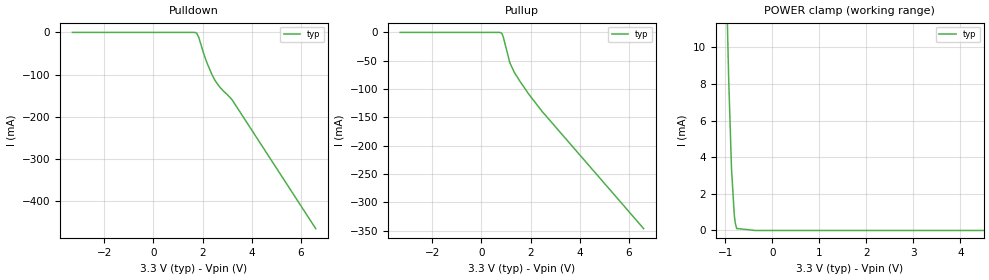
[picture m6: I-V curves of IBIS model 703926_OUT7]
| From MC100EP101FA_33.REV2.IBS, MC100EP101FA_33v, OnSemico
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| (C) COPYRIGHT 1993-2001
| MENTOR GRAPHICS CORPORATION
| ICX STANDARD LIBRARY, ICX PROJECT MODELING,
| ICX CUSTOM MODELING, ICX VENDOR MODEL
| ALL RIGHTS RESERVED.
| THE FOLLOWING ARE TRADEMARKS OR SERVICE MARKS OF
| MENTOR GRAPHICS CORPORATION:ICX (R), ICX STANDARD
| LIBRARY(R), ICX PROJECT MODELING(R), ICX CUSTOM
| MODELING(R), qualityIBIS(TM), MODELVIEWER(TM),
| AND MODELEDITOR(TM)
| ALL COPIES OF SOFTWARE, INCLUDING BUT NOT LIMITED TO
| ANY MODIFICATIONS, ENHANCEMENTS OR DERIVATIVE WORKS,
| MUST CONTAIN ALL MENTOR GRAPHICS CORPORATION'S
| NOTICES AND LEGENDS, INCLUDING THOSE EMBEDDED IN
| SOFTWARE AND THOSE AFFIXED TO SOFTWARE MEDIUM
| AND CONTAINER, AS RECEIVED FROM MENTOR GRAPHICS
| CORPORATION.
| Model Application Version 1.89 2/18/99.
[Model] 703926_OUT7
Model_type Output_ECL
Vref=1.300V
Rref=50.00ohms
Cref=0.000F
Vmeas=1.880V
C_comp 6.000pF NA NA
| variable typ   min   max
[Voltage Range] 3.300V NA NA
[POWER Clamp Reference] 3.300V NA NA
[Pullup Reference] 3.300V NA NA
[Pulldown Reference] 3.300V NA NA
[GND Clamp Reference] 0.000V NA NA
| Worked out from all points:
|   POWER clamp passes 1 mA (typ) near -0.81 V on its own axis
[GND Clamp]
-3.3V     0A         NA         NA
6.6V      0A         NA         NA
[Pulldown]
-3.3V     0A         NA         NA
1.638V    0A         NA         NA
1.76V     -2mA       NA         NA
1.841V    -11.4mA    NA         NA
2.043V    -50.4mA    NA         NA
2.165V    -70.5mA    NA         NA
2.368V    -98.7mA    NA         NA
2.49V     -112.4mA   NA         NA
2.732V    -131.9mA   NA         NA
3.199V    -159.8mA   NA         NA
6.6V      -465mA     NA         NA
[Pullup]
-3.3V     0A         NA         NA
711mV     0A         NA         NA
812mV     -1.1mA     NA         NA
853mV     -3.6mA     NA         NA
893mV     -8.4mA     NA         NA
1.157V    -53.6mA    NA         NA
1.339V    -70.5mA    NA         NA
1.947V    -110.3mA   NA         NA
2.474V    -139.8mA   NA         NA
6.6V      -346.7mA   NA         NA
[POWER Clamp]
-3.3V     452mA      NA         NA
-1.398V   79.8mA     NA         NA
-1.195V   44.3mA     NA         NA
-1.012V   17.4mA     NA         NA
-931mV    8.4mA      NA         NA
-870mV    3.4mA      NA         NA
-809mV    800uA      NA         NA
-789mV    400uA      NA         NA
-758.5mV  100uA      NA         NA
-728mV    100uA      NA         NA
-364mV    0A         NA         NA
6.6V      0A         NA         NA
[Ramp]
| variable typ min max
dV/dt_r 411.8m/206.8p NA NA
dV/dt_f 411.8m/187.1p NA NA
R_load = 50.00Ohms
